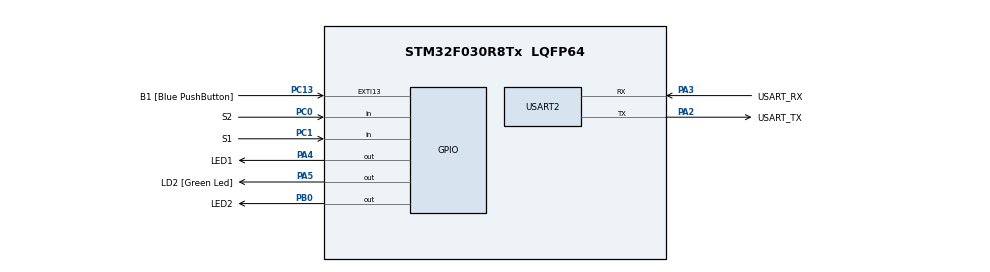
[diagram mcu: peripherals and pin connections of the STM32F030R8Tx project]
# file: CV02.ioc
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Mcu.Family=STM32F0
Mcu.Name=STM32F030R8Tx
Mcu.Package=LQFP64
PA13.GPIO_Label=TMS
PA13.Mode=Serial_Wire
PA13.Signal=SYS_SWDIO
PA14.GPIO_Label=TCK
PA14.Mode=Serial_Wire
PA14.Signal=SYS_SWCLK
PA2.GPIO_Label=USART_TX
PA2.GPIO_Mode=GPIO_MODE_AF_PP
PA2.GPIO_PuPd=GPIO_NOPULL
PA2.GPIO_Speed=GPIO_SPEED_FREQ_LOW
PA2.Mode=Asynchronous
PA2.Signal=USART2_TX
PA3.GPIO_Label=USART_RX
PA3.GPIO_Mode=GPIO_MODE_AF_PP
PA3.GPIO_PuPd=GPIO_NOPULL
PA3.GPIO_Speed=GPIO_SPEED_FREQ_LOW
PA3.Mode=Asynchronous
PA3.Signal=USART2_RX
PA4.GPIO_Label=LED1
PA4.Signal=GPIO_Output
PA5.GPIO_Label=LD2 [Green Led]
PA5.GPIO_Mode=GPIO_MODE_OUTPUT_PP
PA5.GPIO_PuPd=GPIO_NOPULL
PA5.GPIO_Speed=GPIO_SPEED_FREQ_LOW
PA5.Signal=GPIO_Output
PB0.GPIO_Label=LED2
PB0.Signal=GPIO_Output
PC0.GPIO_Label=S2
PC0.GPIO_PuPd=GPIO_PULLUP
PC0.Signal=GPIO_Input
PC1.GPIO_Label=S1
PC1.GPIO_PuPd=GPIO_PULLUP
PC1.Signal=GPIO_Input
PC13.GPIO_Label=B1 [Blue PushButton]
PC13.GPIO_ModeDefaultEXTI=GPIO_MODE_IT_FALLING
PC13.Signal=GPXTI13
PC14-OSC32_IN.Mode=LSE-External-Oscillator
PC14-OSC32_IN.Signal=RCC_OSC32_IN
PC15-OSC32_OUT.Mode=LSE-External-Oscillator
PC15-OSC32_OUT.Signal=RCC_OSC32_OUT
PF0-OSC_IN.Mode=HSE-External-Clock-Source
PF0-OSC_IN.Signal=RCC_OSC_IN
PF1-OSC_OUT.Signal=RCC_OSC_OUT
ProjectManager.HeapSize=0x200
ProjectManager.StackSize=0x400
ProjectManager.TargetToolchain=STM32CubeIDE
RCC.AHBFreq_Value=48000000
RCC.APB1Freq_Value=48000000
RCC.APB1TimFreq_Value=48000000
RCC.HCLKFreq_Value=48000000
RCC.PLLMUL=RCC_PLL_MUL12
RCC.SYSCLKFreq_VALUE=48000000
RCC.SYSCLKSource=RCC_SYSCLKSOURCE_PLLCLK
USART2.VirtualMode-Asynchronous=VM_ASYNC
board=NUCLEO-F030R8

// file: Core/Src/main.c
/* USER CODE BEGIN Header */
/**
  ******************************************************************************
  * @file           : main.c
  * @brief          : Main program body
  ******************************************************************************
  * @attention
  *
  * Copyright (c) 2024 STMicroelectronics.
  * All rights reserved.
  *
  * This software is licensed under terms that can be found in the LICENSE file
  * in the root directory of this software component.
  * If no LICENSE file comes with this software, it is provided AS-IS.
  *
  ******************************************************************************
  */
/* USER CODE END Header */
#include "main.h"

/* USER CODE BEGIN PD */
#define LED_TIME_BLINK 300
#define LED_TIME_SHORT 100
#define LED_TIME_LONG 1000
#define Debounce_time 5
/* USER CODE END PD */

/* USER CODE BEGIN PV */
volatile uint32_t Tick;

/* USER CODE END PV */

void SystemClock_Config(void);
static void MX_GPIO_Init(void);
static void MX_USART2_UART_Init(void);

/* USER CODE BEGIN 0 */
void blink(void){
	static uint32_t delay;

	if (Tick > delay + LED_TIME_BLINK) {
		LL_GPIO_TogglePin(LED2_GPIO_Port, LED2_Pin);
		delay = Tick;
	}
}

/*void button(void){
	static uint32_t old_s2;
	static uint32_t old_s1;
	static uint32_t off_time;
	static uint32_t delay = 0;
	static uint16_t debounce = 0xFFFF;

	uint32_t new_s2 = LL_GPIO_IsInputPinSet(S2_GPIO_Port, S2_Pin);
	uint32_t new_s1 = LL_GPIO_IsInputPinSet(S1_GPIO_Port, S1_Pin);

	if (Tick > 40 + delay){
		if (old_s2 && !new_s2) { // falling edge
			off_time = Tick + LED_TIME_SHORT;
			LL_GPIO_SetOutputPin(LED1_GPIO_Port, LED1_Pin);
		}
		if (old_s1 && !new_s1) { // falling edge
					off_time = Tick + LED_TIME_LONG;
					LL_GPIO_SetOutputPin(LED1_GPIO_Port, LED1_Pin);
				}
		old_s2 = new_s2;
		old_s1 = new_s1;
		delay = Tick;
	}

	if (Tick > off_time) {
		LL_GPIO_ResetOutputPin(LED1_GPIO_Port, LED1_Pin);
	}
}
*/
void btn(void){
	static uint16_t Debounce = 0x0000;
	//static uint32_t delay = 0;
	static uint32_t Last_update = 0;
	//uint32_t new_s1 = LL_GPIO_IsInputPinSet(S1_GPIO_Port, S1_Pin);
	uint32_t Current_time = Tick;

	if ((Current_time - Last_update) >= Debounce_time){
		Debounce = Debounce << 1;
		if (!LL_GPIO_IsInputPinSet(S2_GPIO_Port, S2_Pin)){
			Debounce |= 0x0001;

		}
		Last_update = Current_time;
		if(Debounce == 0x7FFF){

			LL_GPIO_TogglePin(LED1_GPIO_Port, LED1_Pin);
		}
	}

}
/* USER CODE END 0 */

int main(void)
{

  /* MCU Configuration--------------------------------------------------------*/

  /* Reset of all peripherals, Initializes the Flash interface and the Systick. */
  LL_APB1_GRP2_EnableClock(LL_APB1_GRP2_PERIPH_SYSCFG);
  LL_APB1_GRP1_EnableClock(LL_APB1_GRP1_PERIPH_PWR);

  /* Configure the system clock */
  SystemClock_Config();

  /* Initialize all configured peripherals */
  MX_GPIO_Init();
  MX_USART2_UART_Init();
  /* USER CODE BEGIN 2 */
  LL_SYSTICK_EnableIT();

  /* USER CODE END 2 */

  /* Infinite loop */
  /* USER CODE BEGIN WHILE */
  while (1)
  {
	  blink();
	  btn();
    /* USER CODE END WHILE */

  }
}

void SystemClock_Config(void)
{
  LL_FLASH_SetLatency(LL_FLASH_LATENCY_1);
  while(LL_FLASH_GetLatency() != LL_FLASH_LATENCY_1)
  {
  }
  LL_RCC_HSI_Enable();

   /* Wait till HSI is ready */
  while(LL_RCC_HSI_IsReady() != 1)
  {

  }
  LL_RCC_HSI_SetCalibTrimming(16);
  LL_RCC_PLL_ConfigDomain_SYS(LL_RCC_PLLSOURCE_HSI_DIV_2, LL_RCC_PLL_MUL_12);
  LL_RCC_PLL_Enable();

   /* Wait till PLL is ready */
  while(LL_RCC_PLL_IsReady() != 1)
  {

  }
  LL_RCC_SetAHBPrescaler(LL_RCC_SYSCLK_DIV_1);
  LL_RCC_SetAPB1Prescaler(LL_RCC_APB1_DIV_1);
  LL_RCC_SetSysClkSource(LL_RCC_SYS_CLKSOURCE_PLL);

   /* Wait till System clock is ready */
  while(LL_RCC_GetSysClkSource() != LL_RCC_SYS_CLKSOURCE_STATUS_PLL)
  {

  }
  LL_Init1msTick(48000000);
  LL_SetSystemCoreClock(48000000);
}

static void MX_USART2_UART_Init(void)
{

  LL_USART_InitTypeDef USART_InitStruct = {0};

  LL_GPIO_InitTypeDef GPIO_InitStruct = {0};

  /* Peripheral clock enable */
  LL_APB1_GRP1_EnableClock(LL_APB1_GRP1_PERIPH_USART2);

  LL_AHB1_GRP1_EnableClock(LL_AHB1_GRP1_PERIPH_GPIOA);
  /**USART2 GPIO Configuration
  PA2   ------> USART2_TX
  PA3   ------> USART2_RX
  */
  GPIO_InitStruct.Pin = USART_TX_Pin;
  GPIO_InitStruct.Mode = LL_GPIO_MODE_ALTERNATE;
  GPIO_InitStruct.Speed = LL_GPIO_SPEED_FREQ_LOW;
  GPIO_InitStruct.OutputType = LL_GPIO_OUTPUT_PUSHPULL;
  GPIO_InitStruct.Pull = LL_GPIO_PULL_NO;
  GPIO_InitStruct.Alternate = LL_GPIO_AF_1;
  LL_GPIO_Init(USART_TX_GPIO_Port, &GPIO_InitStruct);

  GPIO_InitStruct.Pin = USART_RX_Pin;
  GPIO_InitStruct.Mode = LL_GPIO_MODE_ALTERNATE;
  GPIO_InitStruct.Speed = LL_GPIO_SPEED_FREQ_LOW;
  GPIO_InitStruct.OutputType = LL_GPIO_OUTPUT_PUSHPULL;
  GPIO_InitStruct.Pull = LL_GPIO_PULL_NO;
  GPIO_InitStruct.Alternate = LL_GPIO_AF_1;
  LL_GPIO_Init(USART_RX_GPIO_Port, &GPIO_InitStruct);

  USART_InitStruct.BaudRate = 38400;
  USART_InitStruct.DataWidth = LL_USART_DATAWIDTH_8B;
  USART_InitStruct.StopBits = LL_USART_STOPBITS_1;
  USART_InitStruct.Parity = LL_USART_PARITY_NONE;
  USART_InitStruct.TransferDirection = LL_USART_DIRECTION_TX_RX;
  USART_InitStruct.HardwareFlowControl = LL_USART_HWCONTROL_NONE;
  USART_InitStruct.OverSampling = LL_USART_OVERSAMPLING_16;
  LL_USART_Init(USART2, &USART_InitStruct);
  LL_USART_DisableIT_CTS(USART2);
  LL_USART_ConfigAsyncMode(USART2);
  LL_USART_Enable(USART2);

}

static void MX_GPIO_Init(void)
{
  LL_EXTI_InitTypeDef EXTI_InitStruct = {0};
  LL_GPIO_InitTypeDef GPIO_InitStruct = {0};

  /* GPIO Ports Clock Enable */
  LL_AHB1_GRP1_EnableClock(LL_AHB1_GRP1_PERIPH_GPIOC);
  LL_AHB1_GRP1_EnableClock(LL_AHB1_GRP1_PERIPH_GPIOF);
  LL_AHB1_GRP1_EnableClock(LL_AHB1_GRP1_PERIPH_GPIOA);
  LL_AHB1_GRP1_EnableClock(LL_AHB1_GRP1_PERIPH_GPIOB);

  /**/
  LL_GPIO_ResetOutputPin(LED1_GPIO_Port, LED1_Pin);

  /**/
  LL_GPIO_ResetOutputPin(LD2_GPIO_Port, LD2_Pin);

  /**/
  LL_GPIO_ResetOutputPin(LED2_GPIO_Port, LED2_Pin);

  /**/
  LL_SYSCFG_SetEXTISource(LL_SYSCFG_EXTI_PORTC, LL_SYSCFG_EXTI_LINE13);

  /**/
  LL_GPIO_SetPinPull(B1_GPIO_Port, B1_Pin, LL_GPIO_PULL_NO);

  /**/
  LL_GPIO_SetPinMode(B1_GPIO_Port, B1_Pin, LL_GPIO_MODE_INPUT);

  /**/
  EXTI_InitStruct.Line_0_31 = LL_EXTI_LINE_13;
  EXTI_InitStruct.LineCommand = ENABLE;
  EXTI_InitStruct.Mode = LL_EXTI_MODE_IT;
  EXTI_InitStruct.Trigger = LL_EXTI_TRIGGER_FALLING;
  LL_EXTI_Init(&EXTI_InitStruct);

  /**/
  GPIO_InitStruct.Pin = S2_Pin;
  GPIO_InitStruct.Mode = LL_GPIO_MODE_INPUT;
  GPIO_InitStruct.Pull = LL_GPIO_PULL_UP;
  LL_GPIO_Init(S2_GPIO_Port, &GPIO_InitStruct);

  /**/
  GPIO_InitStruct.Pin = S1_Pin;
  GPIO_InitStruct.Mode = LL_GPIO_MODE_INPUT;
  GPIO_InitStruct.Pull = LL_GPIO_PULL_UP;
  LL_GPIO_Init(S1_GPIO_Port, &GPIO_InitStruct);

  /**/
  GPIO_InitStruct.Pin = LED1_Pin;
  GPIO_InitStruct.Mode = LL_GPIO_MODE_OUTPUT;
  GPIO_InitStruct.Speed = LL_GPIO_SPEED_FREQ_LOW;
  GPIO_InitStruct.OutputType = LL_GPIO_OUTPUT_PUSHPULL;
  GPIO_InitStruct.Pull = LL_GPIO_PULL_NO;
  LL_GPIO_Init(LED1_GPIO_Port, &GPIO_InitStruct);

  /**/
  GPIO_InitStruct.Pin = LD2_Pin;
  GPIO_InitStruct.Mode = LL_GPIO_MODE_OUTPUT;
  GPIO_InitStruct.Speed = LL_GPIO_SPEED_FREQ_LOW;
  GPIO_InitStruct.OutputType = LL_GPIO_OUTPUT_PUSHPULL;
  GPIO_InitStruct.Pull = LL_GPIO_PULL_NO;
  LL_GPIO_Init(LD2_GPIO_Port, &GPIO_InitStruct);

  /**/
  GPIO_InitStruct.Pin = LED2_Pin;
  GPIO_InitStruct.Mode = LL_GPIO_MODE_OUTPUT;
  GPIO_InitStruct.Speed = LL_GPIO_SPEED_FREQ_LOW;
  GPIO_InitStruct.OutputType = LL_GPIO_OUTPUT_PUSHPULL;
  GPIO_InitStruct.Pull = LL_GPIO_PULL_NO;
  LL_GPIO_Init(LED2_GPIO_Port, &GPIO_InitStruct);

}

void Error_Handler(void)
{
  __disable_irq();
  while (1)
  {
  }
}
